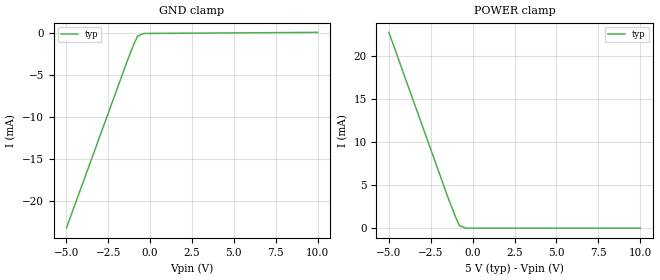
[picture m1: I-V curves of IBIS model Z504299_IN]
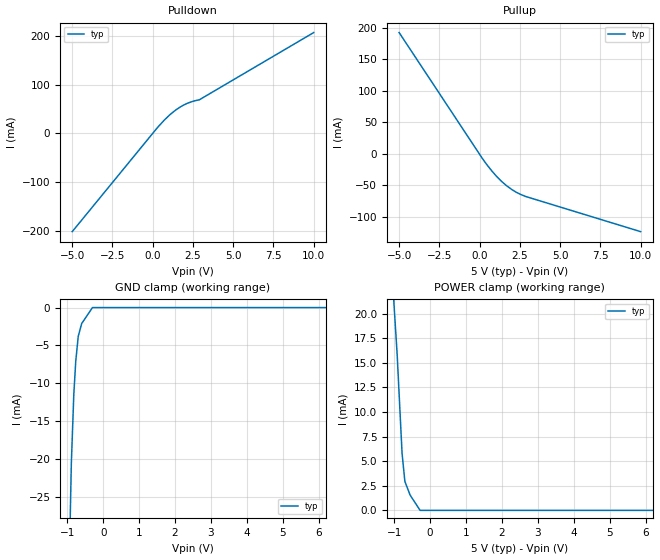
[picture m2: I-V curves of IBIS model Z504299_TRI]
| YOU ARE ONLY AUTHORIZED TO USE THIS SOFTWARE
| ACCORDING TO LICENSOR'S LICENSE RESTRICTIONS.
[IBIS Ver] 3.1
[File Name] mc54hct541j.ibs
[File Rev] 2.0
[Source] Measured and created by ICX Technology
[Date] Friday 7/14/00 9:08:11 AM
[Copyright]
| (C) COPYRIGHT 1993-2000
| MENTOR GRAPHICS CORPORATION
| ICX STANDARD LIBRARY, ICX PROJECT MODELING,
| ICX CUSTOM MODELING, ICX VENDOR MODEL
| ALL RIGHTS RESERVED.
| THE FOLLOWING ARE TRADEMARKS OR SERVICE MARKS OF
| MENTOR GRAPHICS CORPORATION:ICX (R), ICX STANDARD
| LIBRARY(R), ICX PROJECT MODELING(R), ICX CUSTOM
| MODELING(R), qualityIBIS(TM), MODELVIEWER(TM),
| AND MODELEDITOR(TM)
| ALL COPIES OF SOFTWARE, INCLUDING BUT NOT LIMITED TO
| ANY MODIFICATIONS, ENHANCEMENTS OR DERIVATIVE WORKS,
| MUST CONTAIN ALL MENTOR GRAPHICS CORPORATION'S
| NOTICES AND LEGENDS, INCLUDING THOSE EMBEDDED IN
| SOFTWARE AND THOSE AFFIXED TO SOFTWARE MEDIUM
| AND CONTAINER, AS RECEIVED FROM MENTOR GRAPHICS
| CORPORATION.
|  ZAP Model Builder 2.7
[Component] MC54HCT541J
[Manufacturer] OnSemiconductor
[Package]
| variable   typ   min   max
R_pkg  .216ohms NA NA
L_pkg  5.76nH NA NA
C_pkg  2.193pF NA NA
[Pin] signal_name  model_name  R_pin  L_pin C_pin
1 _G1 Z504299_IN .232 9.76n 3.179p
2 A0 Z504299_IN .224 7.26n 2.686p
3 A1 Z504299_IN .216 5.26n 2.193p
4 A2 Z504299_IN .208 3.76n 1.7p
5 A3 Z504299_IN .2 2.76n 1.207p
6 A4 Z504299_IN .2 2.76n 1.207p
7 A5 Z504299_IN .208 3.76n 1.7p
8 A6 Z504299_IN .216 5.26n 2.193p
9 A7 Z504299_IN .224 7.26n 2.686p
10 GND GND .232 9.76n 3.179p
11 Y7 Z504299_TRI .232 9.76n 3.179p
12 Y6 Z504299_TRI .224 7.26n 2.686p
13 Y5 Z504299_TRI .216 5.26n 2.193p
14 Y4 Z504299_TRI .208 3.76n 1.7p
15 Y3 Z504299_TRI .2 2.76n 1.207p
16 Y2 Z504299_TRI .2 2.76n 1.207p
17 Y1 Z504299_TRI .208 3.76n 1.7p
18 Y0 Z504299_TRI .216 5.26n 2.193p
19 _G2 Z504299_IN .224 7.26n 2.686p
20 VCC POWER .232 9.76n 3.179p
| Models and submodels in the file (2): Z504299_IN (Input), Z504299_TRI (3-state)
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| (C) COPYRIGHT 1993-2000
| MENTOR GRAPHICS CORPORATION
| ICX STANDARD LIBRARY, ICX PROJECT MODELING,
| ICX CUSTOM MODELING, ICX VENDOR MODEL
| ALL RIGHTS RESERVED.
| THE FOLLOWING ARE TRADEMARKS OR SERVICE MARKS OF
| MENTOR GRAPHICS CORPORATION:ICX (R), ICX STANDARD
| LIBRARY(R), ICX PROJECT MODELING(R), ICX CUSTOM
| MODELING(R), qualityIBIS(TM), MODELVIEWER(TM),
| AND MODELEDITOR(TM)
| ALL COPIES OF SOFTWARE, INCLUDING BUT NOT LIMITED TO
| ANY MODIFICATIONS, ENHANCEMENTS OR DERIVATIVE WORKS,
| MUST CONTAIN ALL MENTOR GRAPHICS CORPORATION'S
| NOTICES AND LEGENDS, INCLUDING THOSE EMBEDDED IN
| SOFTWARE AND THOSE AFFIXED TO SOFTWARE MEDIUM
| AND CONTAINER, AS RECEIVED FROM MENTOR GRAPHICS
| CORPORATION.
| Model Application Version 1.89 2/18/99.
[Model] Z504299_IN
Model_type Input
Vinl = 800.0mV
Vinh = 2.000V
C_comp 4.000pF NA NA
| variable typ   min   max
[Voltage Range] 5.000V NA NA
[GND Clamp Reference] 0.000V NA NA
[POWER Clamp Reference] 5.000V NA NA
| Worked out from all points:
|   GND clamp passes 1 mA (typ) near -0.90 V on its own axis
|   POWER clamp passes 1 mA (typ) near -0.95 V on its own axis
[GND Clamp]
-5V       -23.17mA   NA         NA
-1.336V   -3.152mA   NA         NA
-975.3mV  -1.32mA    NA         NA
-746.5mV  -367.7uA   NA         NA
-373.3mV  -46.16uA   NA         NA
10V       83.2uA     NA         NA
[POWER Clamp]
-5V       22.68mA    NA         NA
-1.455V   3.459mA    NA         NA
-1V       1.209mA    NA         NA
-790mV    286.9uA    NA         NA
-395mV    0A         NA         NA
10V       0A         NA         NA
| (C) COPYRIGHT 1993-2000
| MENTOR GRAPHICS CORPORATION
| ICX STANDARD LIBRARY, ICX PROJECT MODELING,
| ICX CUSTOM MODELING, ICX VENDOR MODEL
| ALL RIGHTS RESERVED.
| THE FOLLOWING ARE TRADEMARKS OR SERVICE MARKS OF
| MENTOR GRAPHICS CORPORATION:ICX (R), ICX STANDARD
| LIBRARY(R), ICX PROJECT MODELING(R), ICX CUSTOM
| MODELING(R), qualityIBIS(TM), MODELVIEWER(TM),
| AND MODELEDITOR(TM)
| ALL COPIES OF SOFTWARE, INCLUDING BUT NOT LIMITED TO
| ANY MODIFICATIONS, ENHANCEMENTS OR DERIVATIVE WORKS,
| MUST CONTAIN ALL MENTOR GRAPHICS CORPORATION'S
| NOTICES AND LEGENDS, INCLUDING THOSE EMBEDDED IN
| SOFTWARE AND THOSE AFFIXED TO SOFTWARE MEDIUM
| AND CONTAINER, AS RECEIVED FROM MENTOR GRAPHICS
| CORPORATION.
| Model Application Version 1.89 2/18/99.
[Model] Z504299_TRI
Model_type 3-state
Vref=0.000V
Rref=500.0Mohms
Cref=50.00pF
Vmeas=1.300V
C_comp 8.000pF NA NA
| variable typ   min   max
[Voltage Range] 5.000V NA NA
[POWER Clamp Reference] 5.000V NA NA
[Pullup Reference] 5.000V NA NA
[Pulldown Reference] 0.000V NA NA
[GND Clamp Reference] 0.000V NA NA
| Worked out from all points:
|   slope of the pulldown table from 0 to 0.75 V, typ, clamps not added: 26.7 ohm
|   slope of the pullup table from 0 to 0.75 V, typ, clamps not added: 28.8 ohm
[GND Clamp]
-5V       -973.6mA   NA         NA
-888.7mV  -20.58mA   NA         NA
-819.7mV  -11.45mA   NA         NA
-766.7mV  -7.147mA   NA         NA
-696mV    -3.793mA   NA         NA
-600.3mV  -2.108mA   NA         NA
-300.2mV  0A         NA         NA
10V       0A         NA         NA
[Pulldown]
-5V       -202mA     NA         NA
293.3mV   11.84mA    NA         NA
1.182V    41.5mA     NA         NA
1.724V    54.44mA    NA         NA
2.134V    61.48mA    NA         NA
2.887V    68.76mA    NA         NA
10V       207.1mA    NA         NA
[Pullup]
-5V       192.1mA    NA         NA
171mV     -7.76mA    NA         NA
440mV     -17.28mA   NA         NA
771mV     -27.91mA   NA         NA
1.058V    -36.3mA    NA         NA
1.352V    -43.82mA   NA         NA
1.661V    -50.73mA   NA         NA
2.013V    -57.28mA   NA         NA
2.286V    -61.52mA   NA         NA
2.568V    -65.03mA   NA         NA
2.861V    -68.11mA   NA         NA
10V       -123.9mA   NA         NA
[POWER Clamp]
-5V       252mA      NA         NA
-918mV    15.86mA    NA         NA
-781mV    5.797mA    NA         NA
-703mV    2.941mA    NA         NA
-557mV    1.554mA    NA         NA
-278.5mV  0A         NA         NA
10V       0A         NA         NA
[Ramp]
| variable typ min max
dV/dt_r 2.867/1.157n NA NA
dV/dt_f 2.867/1.355n NA NA
R_load = 500.0Ohms
